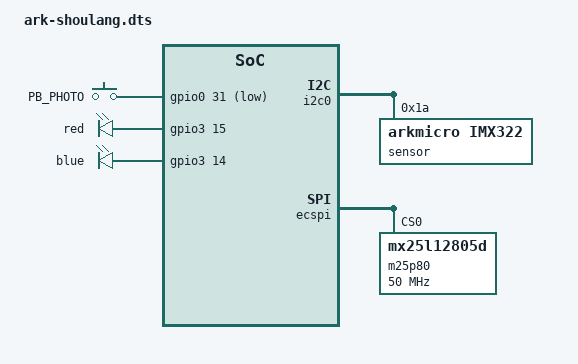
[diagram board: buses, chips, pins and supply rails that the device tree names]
// SPDX-License-Identifier: GPL-2.0
/dts-v1/;
#include "arkn141.dtsi"
#include "arkn141-pinctrl.dtsi"
#include <dt-bindings/gpio/gpio.h>

/ {
	sound {
		//compatible = "arkmicro,arkn141-audio";
		compatible = "simple-audio-card";
		simple-audio-card,format = "i2s";
		simple-audio-card,name = "arkn141-audio";
		#address-cells = <1>;
		#size-cells = <0>;

		simple-audio-card,dai-link@0 {		/* I2S - dac */
			reg = <0>;
			cpu {
				sound-dai = <&i2s_dac>;
			};
			codec {
				sound-dai = <&sddac>;
			};
		};

		simple-audio-card,dai-link@1 {		/* I2S - adc */
			reg = <1>;
			format = "i2s";
			cpu {
				sound-dai = <&i2s_adc>;
			};
			codec {
				sound-dai = <&sdadc>;
			};
		};
	};

	reserved-memory {
		#address-cells = <1>;
		#size-cells = <1>;
		ranges;

		/* global autoconfigured region for contiguous allocations */
		linux,cma {
			compatible = "shared-dma-pool";
			reusable;
			size = <0x3000000>;
			linux,cma-default;
		};
	};

	gpio_keys {
		compatible = "gpio-keys";

		key0 {
			label = "PB_PHOTO";
			gpios = <&gpio0 31 GPIO_ACTIVE_LOW>;
			linux,code = <0x100>;
			wakeup-source;
		};
	};

	leds {
		compatible = "gpio-leds";

		led0 {
			label = "red";
			gpios = <&gpio3 15 GPIO_ACTIVE_HIGH>;
		};

		led1 {
			label = "blue";
			gpios = <&gpio3 14 GPIO_ACTIVE_HIGH>;
		};
	};
};

&i2c0 {
	sensor: imx322@1A {
		compatible = "arkmicro,imx322";
		reg = <0x1A>;
	};
};

&ecspi {
	m25p80@0 {
		#address-cells = <1>;
		#size-cells = <1>;
		compatible = "mx25l12805d";
		reg = <0>; /* Chip select 0 */
		spi-max-frequency = <50000000>;
	};
};

/* cpupll:522M, syspll:342M, audpll:402M */
&isp_clk {	/* >84M(better select 85M) */
	index-offset = <0>;
	index-mask = <7>;
	index-value = <1>;	/* 1:syspll(342M) */
	div-offset = <3>;
	div-mask = <7>;
	div-value = <4>;	/* 342/4=85.5M */
};

&sensor_mclk {	/* <=37.125M(better select 37.125M) */
	index-offset = <15>;
	index-mask = <0xf>;
	index-value = <2>;	/* 2:audpll(402M)*/
	div-offset = <19>;
	div-mask = <0xf>;
	div-value = <11>;	/* 402/11=36.54545 */
};

&isp_camera {
	sensor-reset-gpios = <&gpio3 28 GPIO_ACTIVE_HIGH>;
};

